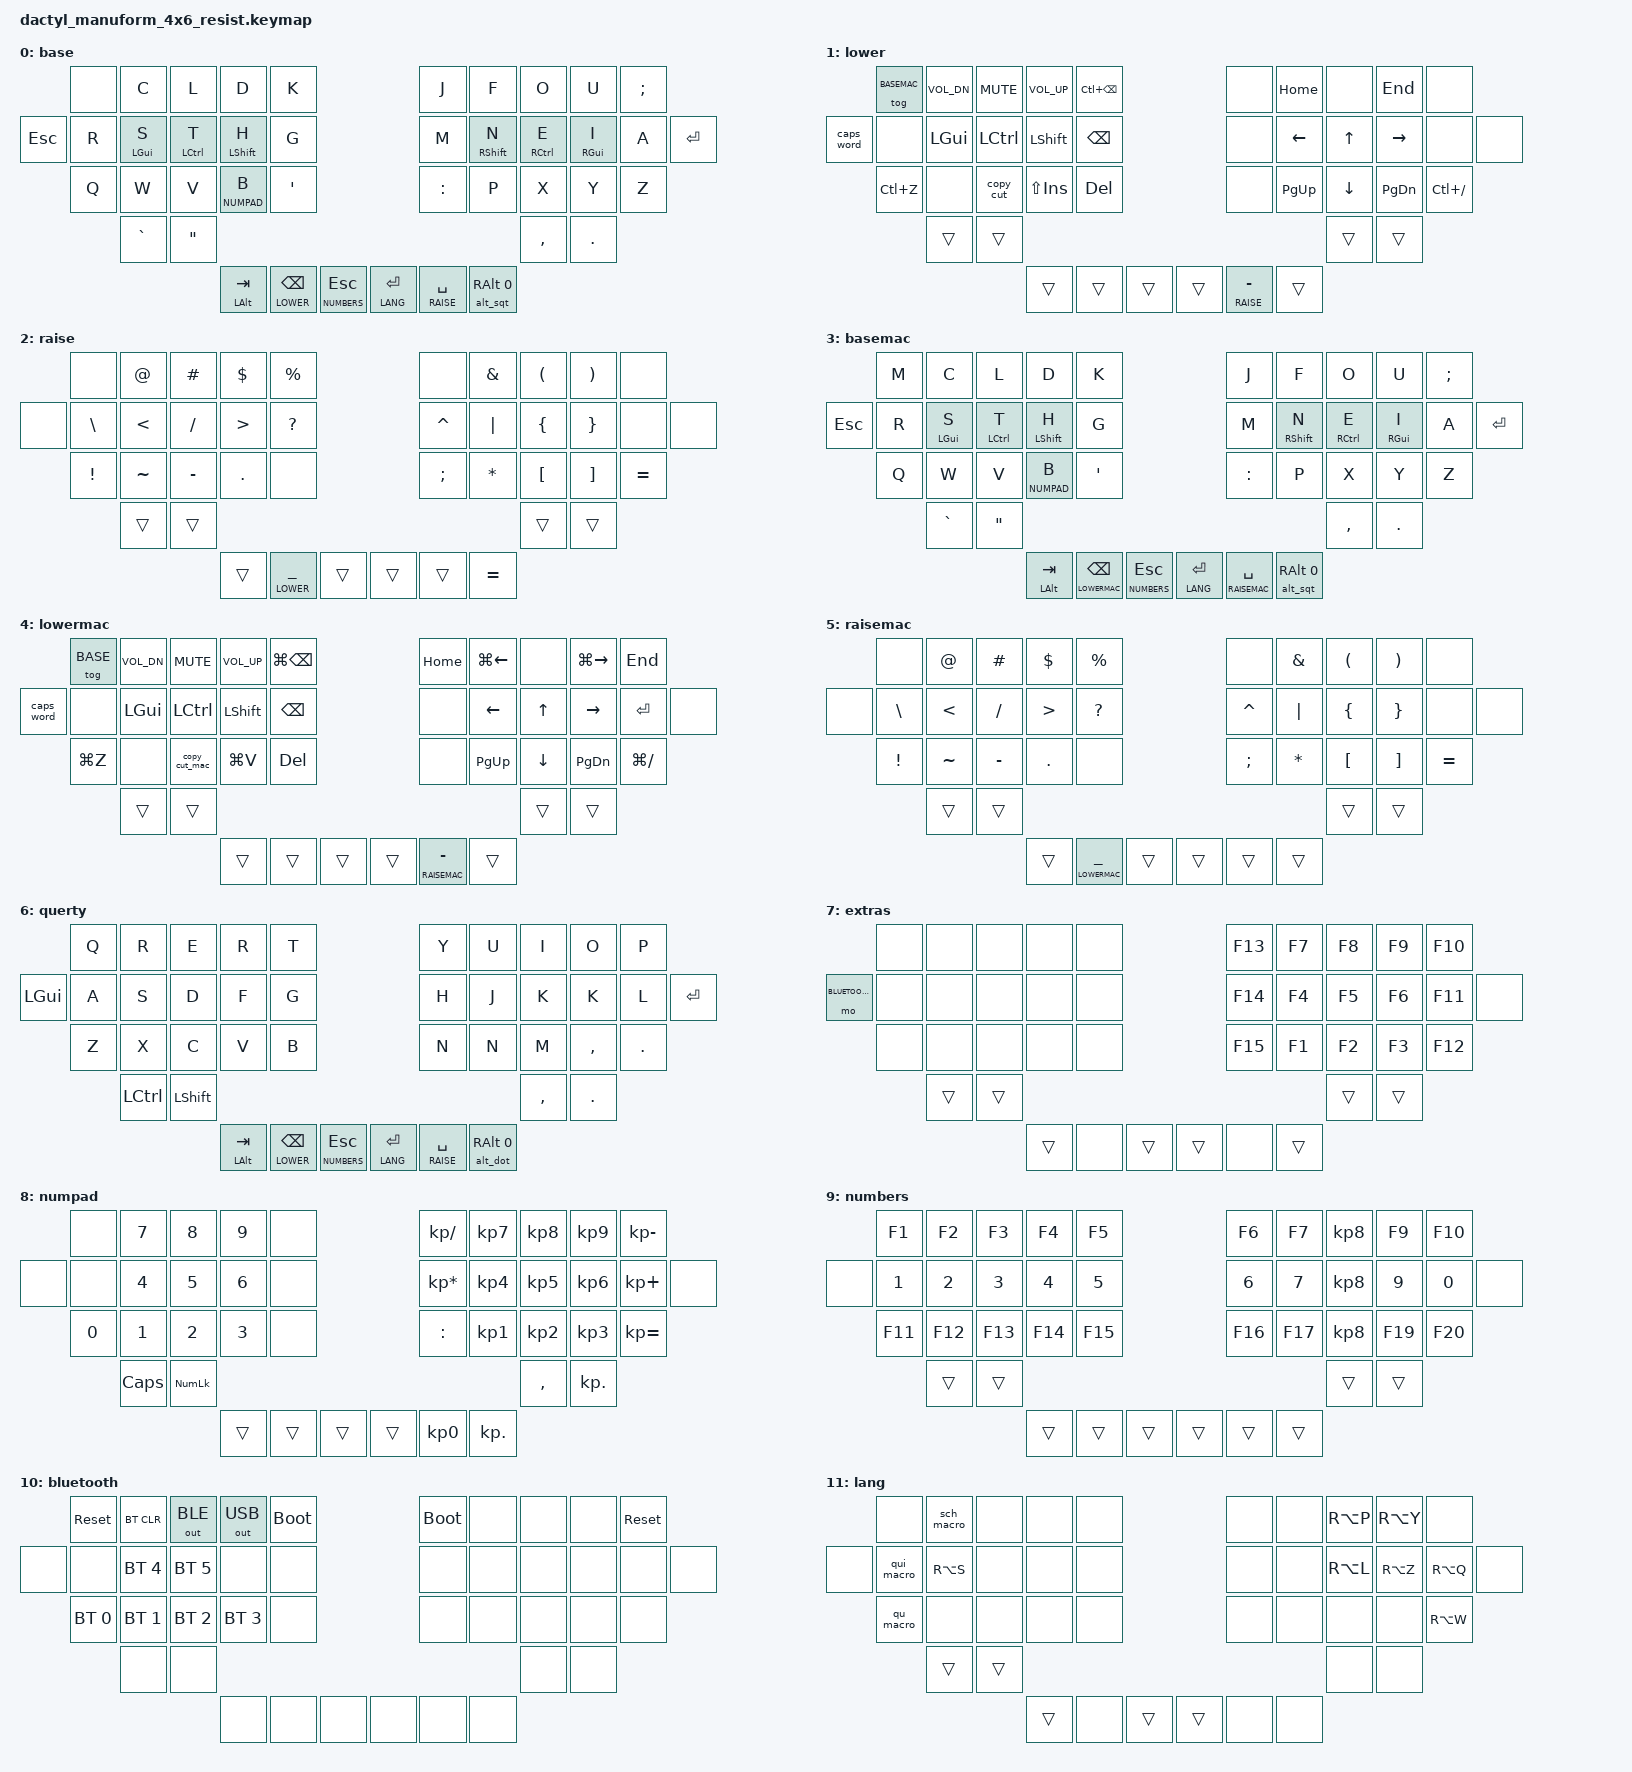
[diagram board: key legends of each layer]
#include <behaviors.dtsi>
#include <dt-bindings/zmk/keys.h>
#include <dt-bindings/zmk/bt.h>
#include <dt-bindings/zmk/outputs.h>
#include "../zmk-nodefree-config/helper.h"
#include "../zmk-nodefree-config/keypos_def/keypos_dactyl_manuform_4x6_resist.h"

#define BASE      0
#define LOWER     1
#define RAISE     2

#define BASEMAC   3
#define LOWERMAC  4
#define RAISEMAC  5

#define QUERTY    6
#define EXTRAS    7
#define NUMPAD    8
#define NUMBERS   9
#define BLUETOOTH 10
#define LANG      11

// left-hand keys
#define KEYS_L LN0 LN1 LN2 LN3 LN4 LT0 LT1 LT2 LT3 LT4 LT5 LM0 LM1 LM2 LM3 LM4 LB0 LB1
// right-hand keys
#define KEYS_R RN0 RN1 RN2 RN3 RN4 RT0 RT1 RT2 RT3 RT4 RT5 RM0 RM1 RM2 RM3 RM4 RB0 RB1
// left-hand thumb keys
#define THUMBS_L LH0 LH1 LH2
// right-hand thumb keys
#define THUMBS_R RH0 RH1 RH2

/ {
    conditional_layers {
        compatible = "zmk,conditional-layers";
        tri_layer {
            if-layers = <LOWER RAISE>;
            then-layer = <EXTRAS>;
        };
        tri_layer_mac {
            if-layers = <LOWERMAC RAISEMAC>;
            then-layer = <EXTRAS>;
        };
    };
};


#define XXX &none
#define ___ &trans

#undef COMBO_TERM
#define COMBO_TERM 18




ZMK_COMBO(comboDoubleQuote1, &kp SQT, RM1 RM2, BASE)

// #define HRC_TAB    &hml         LS(LALT) TAB
// ZMK_COMBO(tab,   HRC_TAB,       LT3 LT1,     BASE, COMBO_TERM)

// ZMK_COMBO(combo_the, &macro_the, LT3 LT1, 0)
// ZMK_BEHAVIOR(macro_the, macro,
//     wait-ms = <0>;
//     tap-ms = <5>;
//     bindings = <&kp T &kp H &kp E &kp SPACE>;
// )


#define MAKE_HRM(NAME, HOLD, TAP, TRIGGER_POS) \
    ZMK_BEHAVIOR(NAME, hold_tap, \
        flavor = "balanced"; \
        tapping-term-ms = <280>; \
        quick-tap-ms = <150>; \
        bindings = <HOLD>, <TAP>; \
        hold-trigger-key-positions = <TRIGGER_POS>; \
        hold-trigger-on-release; \
        hold-while-undecided; \
    )


//global-quick-tap-ms = <150>;

// left-hand HRMs
MAKE_HRM(hml, &kp, &kp, THUMBS_L THUMBS_R KEYS_R)
// right-hand HRMs
MAKE_HRM(hmr, &kp, &kp, THUMBS_L THUMBS_R KEYS_L)

&lt {
  tapping-term-ms = <280>;
  quick-tap-ms = <280>; // repeat on tap-into-hold
  flavor = "balanced";
};

&mt {
  tapping-term-ms = <280>;
  quick-tap-ms = <280>; // repeat on tap-into-hold
  flavor = "balanced";
};

// long-tap action on hold, short-tap action on all interrupts
// flavor = "tap-preferred";
// #define MT_CORE \
//     flavor = "balanced"; \
//     tapping-term-ms = <220>; \
//     quick-tap-ms = <220>; \
//     hold-trigger-key-positions = <0>;

// &mt { MT_CORE };

// ZMK_BEHAVIOR(mt_home, hold_tap, bindings = <&masked_home>, <&kp>; MT_CORE)
// ZMK_BEHAVIOR(mt_end,  hold_tap,  bindings = <&masked_end>, <&kp>; MT_CORE)

// #define NAV_LEFT  &mt_home 0   LEFT    // tap: left  | long-tap: beginning of line
// #define NAV_RIGHT &mt_end 0    RIGHT   // tap: right | long-tap: end       of line
// #define NAV_UP    &mt LC(HOME) UP      // tap: up    | long-tap: beginning of document
// #define NAV_DOWN  &mt LC(END)  DOWN    // tap: down  | long-tap: end       of document
// #define NAV_BSPC  &mt LC(BSPC) BSPC    // tap: bspc  | long-tap: delete word backward
// #define NAV_DEL   &mt LC(DEL)  DEL     // tap: del   | long-tap: delete word forward

// mask CTRL when holding left/right to avoid accidental jumps to beginning/end of document
#define MASK_MODS(NAME, MODS, BINDING) \
    ZMK_BEHAVIOR(NAME, mod_morph, \
        bindings = <BINDING>, <BINDING>; \
        mods = <MODS>; \
    )
MASK_MODS(masked_home, (MOD_LCTL), &kp HOME)
MASK_MODS(masked_end,  (MOD_LCTL), &kp END)

// grave on shift single qoute
/ {
  behaviors {
    gsqt: grave_escape {
      compatible = "zmk,behavior-mod-morph";
      label = "GRAVE_ESCAPE";
      #binding-cells = <0>;
      bindings = <&kp SQT>, <&kp GRAVE>;
      mods = <(MOD_LSFT|MOD_RSFT)>;
    };
  };
};

// modify &sk to prevent double capital letters
/ {
  behaviors {
    skq: sticky_key_quick_release {
      compatible = "zmk,behavior-sticky-key";
      label = "STICKY_KEY_QUICK_RELEASE";
      #binding-cells = <1>;
      bindings = <&kp>;
      release-after-ms = <5000>;
      quick-release;
    };
  };
  hltr: hold_layer_tap_repeat {
    label = "HOLD_LAYER_TAP_REPEAT";
    #binding-cells = <2>;
    compatible = "zmk,behavior-hold-tap";
    bindings = <&mo>, <&key_repeat>;
    tapping-term-ms = <120>;
    flavor = "tap-preferred";
  };
  // &hthp NUMPAD B --- doesn't work?
  hthp: holdtap_holdpreferred {
      compatible = "zmk,behavior-hold-tap";
      label = "HOLD_TAP_TAP_PREFERRED";
      #binding-cells = <2>;
      // flavor = "hold-preferred";
      flavor = "balanced";
      tapping-term-ms = <200>;
      quick-tap-ms = <0>;
      bindings = <&mo>, <&kp>;
  };
};

// ----------------------------
ZMK_BEHAVIOR(lt_spc, hold_tap,
    flavor = "balanced";
    tapping-term-ms = <200>;
    quick-tap-ms = <175>;
    bindings = <&mo>, <&spc_morph>;
)
ZMK_BEHAVIOR(spc_morph, mod_morph,
    bindings = <&kp SPACE>, <&dot_spc>;
    mods = <(MOD_LSFT|MOD_RSFT)>;
)
ZMK_BEHAVIOR(dot_spc, macro,
    wait-ms = <0>;
    tap-ms = <5>;
    bindings = <&kp DOT &kp SPACE &skq LSHFT>;
)

// ZMK_BEHAVIOR(tmux, macro,
//     wait-ms = <0>;
//     tap-ms = <5>;
//     bindings = <&kp LCTL &kp B>;
// )
// ----------------------------
// ----------------------------
ZMK_BEHAVIOR(alt_dot, hold_tap,
    flavor = "balanced";
    tapping-term-ms = <200>;
    bindings = <&kp>, <&alt_morph>;
    hold-while-undecided;
)
ZMK_BEHAVIOR(alt_morph, mod_morph,
    bindings = <&kp DOT>, <&kp COMMA>;
    mods = <(MOD_LSFT|MOD_RSFT)>;
)
// ----------------------------
// ----------------------------
ZMK_BEHAVIOR(alt_sqt, hold_tap,
    flavor = "balanced";
    tapping-term-ms = <200>;
    // quick-tap-ms = <175>;
    bindings = <&kp>, <&alt_morph_sqt>;
)

ZMK_BEHAVIOR(alt_morph_sqt, mod_morph,
    bindings = <&kp SQT>, <&kp COMMA>;
    // bindings = <&kp DOT>, <&dot_alt>;
    mods = <(MOD_LSFT|MOD_RSFT)>;
)
// ----------------------------
// ----------------------------
ZMK_BEHAVIOR(copy_cut, tap_dance,
    tapping-term-ms = <200>;
    bindings = <&kp LC(INS)>, <&kp LC(X)>;
)

ZMK_BEHAVIOR(copy_cut_mac, tap_dance,
    tapping-term-ms = <200>;
    bindings = <&kp LG(C)>, <&kp LG(X)>;
)

ZMK_BEHAVIOR(dot_comma, tap_dance,
    tapping-term-ms = <200>;
    bindings = <&kp DOT>, <&kp COMMA>;
)

ZMK_BEHAVIOR(sqt_dqt, tap_dance,
    tapping-term-ms = <200>;
    bindings = <&kp SQT>, <&kp DQT>;
)


// ----------------------------
// ZMK_BEHAVIOR(qu, tap_dance,
//     tapping-term-ms = <200>;
//     bindings = <&kp Q>, <&qu_macro>, <&qi_macro>;
// )
ZMK_BEHAVIOR(qu_macro, macro,
    wait-ms = <0>;
    tap-ms = <5>;
    bindings = <&kp Q>, <&kp U>;
)
ZMK_BEHAVIOR(qui_macro, macro,
    wait-ms = <0>;
    tap-ms = <5>;
    bindings = <&kp Q>, <&kp U>, <&kp I>;
)
ZMK_BEHAVIOR(sch_macro, macro,
    wait-ms = <0>;
    tap-ms = <5>;
    bindings = <&kp S>, <&kp C>, <&kp H>;
)




// ----------------------------


// ZMK_LAYER(base,
//             &kp F11       &kp W          &kp L           &kp D         &kp K                                             &kp J            &kp F         &kp O         &kp U         &kp SEMI
//  &kp LC(BSPC) &kp R       &hml LGUI S    &hml LCTRL T    &hml LSHIFT H &kp G                                             &kp M            &hmr RSHIFT N &hmr RCTRL E  &hmr RGUI I   &kp A     &caps_word
//             &kp Q         &kp C          &kp V           &lt NUMPAD B  &kp SQT                                           &kp COLON        &kp P         &kp X         &kp Y         &kp Z
//                           &kp GRAVE      &kp DQT                                                                                                        &kp COMMA     &kp DOT
//                                                          &mt LALT TAB  &lt LOWER BSPC  &lt NUMBERS ESC         &lt LANG RET  &lt RAISE SPC &alt_dot RALT 0
// )

// ZMK_LAYER(base,
//             &kp F11       &kp C          &kp L           &kp D         &kp K                                             &kp J            &kp F         &kp O         &kp U         &kp SEMI
//  &caps_word &kp R         &hml LGUI S    &hml LCTRL T    &hml LSHIFT H &kp G                                             &kp M            &hmr RSHIFT N &hmr RCTRL E  &hmr RGUI I   &kp A     &kp RETURN
//             &kp Q         &kp W          &kp V           &lt NUMPAD B  &kp SQT                                           &kp COLON        &kp P         &kp X         &kp Y         &kp Z
//                           &kp GRAVE      &kp DQT                                                                                                        &kp COMMA     &kp DOT
//                                                          &mt LALT TAB  &lt LOWER BSPC  &lt NUMBERS ESC         &lt LANG RET  &lt RAISE SPC &alt_dot RALT 0
// )

// ZMK_LAYER(base,
//             &kp ESC       &kp C          &kp L           &kp D         &kp K                                             &kp J            &kp F         &kp O         &kp U         &kp SEMI
//  &kp ESC    &kp G         &hml LGUI S    &hml LCTRL T    &hml LSHIFT H &kp G                                             &kp M            &hmr RSHIFT N &hmr RCTRL E  &hmr RGUI I   &kp A     &kp RETURN
//             &kp Q         &kp W          &kp V           &lt NUMPAD B  &kp SQT                                           &kp COLON        &kp P         &kp X         &kp Y         &kp Z
//                           &kp GRAVE      &kp DQT                                                                                                        &kp COMMA     &kp DOT
//                                                          &mt LALT TAB  &lt LOWER BSPC  &lt NUMBERS R         &lt LANG M    &lt RAISE SPC &alt_dot RALT 0
// )


// ZMK_LAYER(base,
//             &kp ESC       &kp C          &kp L           &kp D         &kp K                                             &kp J            &kp F         &kp O         &kp U         &kp SEMI
//  &caps_word &kp R         &kp S          &kp T           &hml LSHIFT H &kp G                                             &kp M            &hmr RSHIFT N &kp E         &kp I         &kp A     &kp RETURN
//             &kp Q         &kp W          &kp V           &lt NUMPAD B  &kp SQT                                           &kp COLON        &kp P         &kp X         &kp Y         &kp Z
//                           &hml LGUI GRAVE    &hml LCTRL TAB                                                                                             &hmr RCTRL COMMA   &hmr RGUI DOT
//                                                          &mt LALT TAB  &lt LOWER BSPC  &lt NUMBERS ESC         &lt LANG RET  &lt RAISE SPC &alt_dot RALT 0
// )

// ZMK_LAYER(base,
//             &kp ESC       &kp C          &kp L           &kp D         &kp K                                             &kp J            &kp F         &kp O         &kp U         &kp SEMI
//  &caps_word &kp R         &hml LGUI S    &hml LCTRL T    &hml LSHIFT H &kp G                                             &kp M            &hmr RSHIFT N &hmr RCTRL E  &hmr RGUI I   &kp A     &kp RETURN
//             &kp Q         &kp W          &kp V           &kp B         &kp SQT                                           &kp COLON        &kp P         &kp X         &kp Y         &kp Z
//                           &kp GRAVE      &kp RALT                                                                                                       &kp COMMA     &kp DOT
//                                                          &mt LALT TAB  &kp BSPC  &lt LOWER DEL               &lt RAISE C    &kp SPC   &lt LANG SQT
// )


// ZMK_LAYER(base,
//             &kp F11       &kp C          &kp L           &kp D         &kp K                                             &kp J            &kp F         &kp O         &kp U         &kp SEMI
//  &kp LC(BSPC) &kp P       &hml LGUI S    &hml LCTRL T    &hml LSHIFT H &kp G                                             &kp M            &hmr RSHIFT N &hmr RCTRL E  &hmr RGUI I   &kp A     &caps_word
//             &kp Q         &kp W          &kp V           &lt NUMPAD R  &kp SQT                                           &kp COLON        &kp B         &kp X         &kp Y         &kp Z
//                           &kp GRAVE      &kp DQT                                                                                                        &kp COMMA     &kp DOT
//                                                          &mt LALT TAB  &lt LOWER BSPC  &lt NUMBERS ESC         &lt LANG RET  &lt RAISE SPC &alt_dot RALT 0
// )

// -------------------------------------------------------------------
// Linux
// -------------------------------------------------------------------

ZMK_LAYER(base,
            XXX           &kp C          &kp L           &kp D         &kp K                                             &kp J            &kp F         &kp O         &kp U         &kp SEMI
 &kp ESC    &kp R         &hml LGUI S    &hml LCTRL T    &hml LSHIFT H &kp G                                             &kp M            &hmr RSHIFT N &hmr RCTRL E  &hmr RGUI I   &kp A             &kp RETURN
            &kp Q         &kp W          &kp V           &lt NUMPAD B  &kp SQT                                           &kp COLON        &kp P         &kp X         &kp Y         &kp Z
                          &kp GRAVE      &kp DQT                                                                                                        &kp COMMA     &kp DOT
                                                         &mt LALT TAB  &lt LOWER BSPC  &lt NUMBERS ESC       &lt LANG RET   &lt RAISE SPC &alt_sqt RALT 0
)

ZMK_LAYER(lower,
                &tog BASEMAC  &kp K_VOL_DN  &kp K_MUTE      &kp K_VOL_UP  &kp LC(BSPC)                                   XXX              &kp HOME      XXX           &kp END       XXX
 &caps_word     XXX           &kp LGUI      &kp LCTRL       &kp LSHIFT    &kp BSPC                                       XXX              &kp LEFT      &kp UP        &kp RIGHT     XXX            XXX
                &kp LC(Z)     XXX           &copy_cut       &kp LS(INS)   &kp DEL                                        XXX              &kp PG_UP     &kp DOWN      &kp PG_DN     &kp LC(SLASH)
                              ___           ___                                                                                                            ___           ___
                                                            ___           ___         ___                        ___        &lt RAISE MINUS         ___
)

ZMK_LAYER(raise,
           XXX           &kp AT        &kp HASH      &kp DOLLAR    &kp PERCENT                                           XXX           &kp AMPS      &kp LPAR      &kp RPAR      XXX
 XXX       &kp BACKSLASH &kp LT        &kp SLASH     &kp GT        &kp QMARK                                             &kp CARET     &kp PIPE      &kp LBRC      &kp RBRC      XXX          XXX
           &kp EXCL      &kp TILDE     &kp MINUS     &kp DOT       XXX                                                   &kp SEMI      &kp ASTERISK  &kp LBKT      &kp RBKT      &kp EQUAL
                         ___           ___                                                                                                         ___           ___
                                                    ___    &lt LOWER UNDERSCORE     ___                     ___         ___         &kp EQUAL
)

// -------------------------------------------------------------------
// Linux end
// -------------------------------------------------------------------

// -------------------------------------------------------------------
// Mac start
// -------------------------------------------------------------------

ZMK_LAYER(basemac,
            &kp M         &kp C          &kp L           &kp D         &kp K                                             &kp J            &kp F         &kp O         &kp U         &kp SEMI
 &kp ESC    &kp R         &hml LGUI S    &hml LCTRL T    &hml LSHIFT H &kp G                                             &kp M            &hmr RSHIFT N &hmr RCTRL E  &hmr RGUI I   &kp A     &kp RETURN
            &kp Q         &kp W          &kp V           &lt NUMPAD B  &kp SQT                                           &kp COLON        &kp P         &kp X         &kp Y         &kp Z
                          &kp GRAVE      &kp DQT                                                                                                        &kp COMMA     &kp DOT
                                                         &mt LALT TAB  &lt LOWERMAC BSPC  &lt NUMBERS ESC       &lt LANG RET   &lt RAISEMAC SPC &alt_sqt RALT 0
)


ZMK_LAYER(lowermac,
                &tog BASE     &kp K_VOL_DN  &kp K_MUTE      &kp K_VOL_UP  &kp LG(BSPC)                                      &kp HOME         &kp LG(LEFT)  XXX           &kp LG(RIGHT) &kp END
 &caps_word     XXX           &kp LGUI      &kp LCTRL       &kp LSHIFT    &kp BSPC                                          XXX              &kp LEFT      &kp UP        &kp RIGHT     &kp RETURN       XXX
                &kp LG(Z)     XXX           &copy_cut_mac   &kp LG(V)     &kp DEL                                           XXX              &kp PG_UP     &kp DOWN      &kp PG_DN     &kp LG(SLASH)
                              ___           ___                                                                                                            ___           ___
                                                            ___           ___         ___                        ___        &lt RAISEMAC MINUS         ___
)

ZMK_LAYER(raisemac,
           XXX           &kp AT        &kp HASH      &kp DOLLAR    &kp PERCENT                                         XXX           &kp AMPS      &kp LPAR      &kp RPAR      XXX
 XXX       &kp BACKSLASH &kp LT        &kp SLASH     &kp GT        &kp QMARK                                           &kp CARET     &kp PIPE      &kp LBRC      &kp RBRC      XXX           XXX
           &kp EXCL      &kp TILDE     &kp MINUS     &kp DOT       XXX                                                 &kp SEMI      &kp ASTERISK  &kp LBKT      &kp RBKT      &kp EQUAL
                         ___           ___                                                                                                         ___           ___
                                                    ___    &lt LOWERMAC UNDERSCORE     ___                     ___         ___         ___
)

// -------------------------------------------------------------------
// Mac end
// -------------------------------------------------------------------

ZMK_LAYER(querty,
            &kp Q         &kp R          &kp E           &kp R         &kp T                                             &kp Y            &kp U         &kp I         &kp O         &kp P
 &kp LGUI   &kp A         &kp S          &kp D           &kp F         &kp G                                             &kp H            &kp J         &kp K         &kp K         &kp L     &kp RETURN
            &kp Z         &kp X          &kp C           &kp V         &kp B                                             &kp N            &kp N         &kp M         &kp COMMA     &kp DOT
                          &kp LCTRL      &kp LSHIFT                                                                                                     &kp COMMA     &kp DOT
                                                         &mt LALT TAB  &lt LOWER BSPC  &lt NUMBERS ESC         &lt LANG RET  &lt RAISE SPC &alt_dot RALT 0
)

ZMK_LAYER(extras,
                XXX           XXX           XXX           XXX           XXX                                             &kp F13       &kp F7        &kp F8        &kp F9        &kp F10
  &mo BLUETOOTH XXX           XXX           XXX           XXX           XXX                                             &kp F14       &kp F4        &kp F5        &kp F6        &kp F11       XXX
                XXX           XXX           XXX           XXX           XXX                                             &kp F15       &kp F1        &kp F2        &kp F3        &kp F12
                              ___           ___                                                                                                     ___           ___
                                                            ___         XXX         ___                     ___         XXX         ___
)

ZMK_LAYER(numpad,
                XXX           &kp NUMBER_7  &kp NUMBER_8  &kp NUMBER_9  XXX                                             &kp KP_DIVIDE   &kp KP_N7   &kp KP_N8   &kp KP_N9   &kp KP_MINUS
  XXX           XXX           &kp NUMBER_4  &kp NUMBER_5  &kp NUMBER_6  XXX                                             &kp KP_MULTIPLY &kp KP_N4   &kp KP_N5   &kp KP_N6   &kp KP_PLUS       XXX
                &kp NUMBER_0  &kp NUMBER_1  &kp NUMBER_2  &kp NUMBER_3  XXX                                             &kp COLON       &kp KP_N1   &kp KP_N2   &kp KP_N3   &kp KP_EQUAL
                              &kp CAPSLOCK  &kp KP_NUMLOCK                                                                                          &kp COMMA   &kp KP_DOT
                                                            ___         ___         ___                     ___         &kp KP_N0     &kp KP_DOT
)

// ZMK_LAYER(numbers,
//                 &kp NUMBER_1  &kp NUMBER_2  &kp NUMBER_3  &kp NUMBER_4  &kp NUMBER_5                                    &kp NUMBER_6    &kp NUMBER_7  &kp KP_N8   &kp NUMBER_9  &kp NUMBER_0
//   XXX           XXX           &kp LGUI      &kp LCTRL     &kp LSHIFT    XXX                                             XXX             XXX           XXX         XXX           XXX           XXX
//                 XXX           XXX           XXX           XXX           XXX                                             XXX             XXX           XXX         XXX           XXX
//                               ___           ___                                                                                                       XXX         XXX
//                                                             ___         XXX         ___                     ___         XXX           XXX
// )

ZMK_LAYER(numbers,
                &kp F1        &kp F2        &kp F3        &kp F4        &kp F5                                          &kp F6          &kp F7        &kp KP_N8   &kp F9        &kp F10
  XXX           &kp NUMBER_1  &kp NUMBER_2  &kp NUMBER_3  &kp NUMBER_4  &kp NUMBER_5                                    &kp NUMBER_6    &kp NUMBER_7  &kp KP_N8   &kp NUMBER_9  &kp NUMBER_0    XXX
                &kp F11       &kp F12       &kp F13       &kp F14       &kp F15                                         &kp F16         &kp F17       &kp KP_N8   &kp F19       &kp F20
                              ___           ___                                                                                                       ___         ___
                                                            ___         ___         ___                     ___         ___           ___
)

ZMK_LAYER(bluetooth,
                &sys_reset    &bt BT_CLR    &out OUT_BLE  &out OUT_USB  &bootloader                                     &bootloader   XXX           XXX           XXX           &sys_reset
  XXX           XXX           &bt BT_SEL 4  &bt BT_SEL 5  XXX           XXX                                             XXX           XXX           XXX           XXX           XXX           XXX
                &bt BT_SEL 0  &bt BT_SEL 1  &bt BT_SEL 2  &bt BT_SEL 3  XXX                                             XXX           XXX           XXX           XXX           XXX
                              XXX           XXX                                                                                                     XXX           XXX
                                                            XXX         XXX         XXX                     XXX         XXX         XXX
)

ZMK_LAYER(lang,
                XXX           &sch_macro    XXX           XXX           XXX                                             XXX           XXX           &kp RA(P)   &kp RA(Y)     XXX
  XXX           &qui_macro    &kp RA(S)     XXX           XXX           XXX                                             XXX           XXX           &kp RA(L)   &kp RA(Z)     &kp RA(Q)     XXX
                &qu_macro     XXX           XXX           XXX           XXX                                             XXX           XXX           XXX         XXX           &kp RA(W)
                              ___           ___                                                                                                     XXX         XXX
                                                            ___         XXX         ___                     ___         XXX           XXX
)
